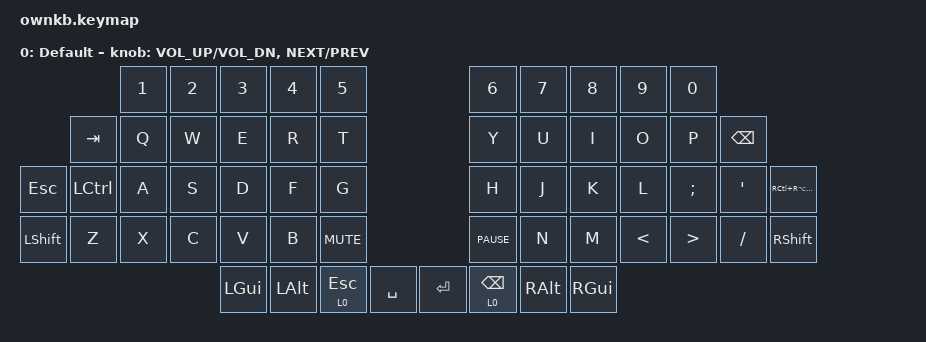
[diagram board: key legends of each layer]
/*
 * Copyright (c) 2023 The ZMK Contributors
 * SPDX-License-Identifier: MIT
 */

#include <behaviors.dtsi>
#include <dt-bindings/zmk/keys.h>
#include <dt-bindings/zmk/bt.h>

/ {
    keymap {
        compatible = "zmk,keymap";

        default_layer {
            label = "Default";

bindings = <
//                     ___________________________________________________                   ___________________________________________________
//                     | 1       | 2       | 3       | 4       | 5       |                   | 6       | 7       | 8       | 9       | 0       |
                         &kp N1    &kp N2    &kp N3    &kp N4    &kp N5                        &kp N6    &kp N7    &kp N8    &kp N9    &kp N0
//           _____________________________________________________________                   _____________________________________________________________
//           | TAB     | Q       | W       | E       | R       | T       |                   | Y       | U       | I       | O       | P       | TAB     |
               &kp TAB   &kp Q     &kp W     &kp E     &kp R     &kp T                         &kp Y     &kp U     &kp I     &kp O     &kp P     &kp BSPC
// _______________________________________________________________________                   _______________________________________________________________________
// | ESC     |         | A       | S       | D       | F       | G       |                   | H       | J       | K       | L       | ;       | '       | F13     |
     &kp ESC   &kp LCTRL &kp A     &kp S     &kp D     &kp F     &kp G                         &kp H     &kp J     &kp K     &kp L     &kp SEMI  &kp SQT   &kp RC(RA(F13))
//           _____________________________________________________________________________________________________________________________________________
//           | SHIFT   | Z       | X       | C       | V       | B       | MUTE    | PAUSE   | N       | M       | <       | >       | /       | SHIFT   |
               &kp LSHFT &kp Z     &kp X     &kp C     &kp V     &kp B  &kp C_MUTE &kp C_PAUSE &kp N     &kp M     &kp LT    &kp GT    &kp SLASH &kp RSHFT
//                                         _________________________________________________________________________________
//                                         | WIN     | ALT     | X/FSC   | SPACE   | ENTER   | x/BSPC  | ALT     | WIN     |
                                             &kp LGUI  &kp LALT  &lt 0 ESC &kp SPACE &kp ENTER &lt 0 BSPC &kp RALT &kp RGUI
            >;

            sensor-bindings = <&inc_dec_kp C_VOL_UP C_VOL_DN &inc_dec_kp C_NEXT C_PREV>;
        };
    };
};
